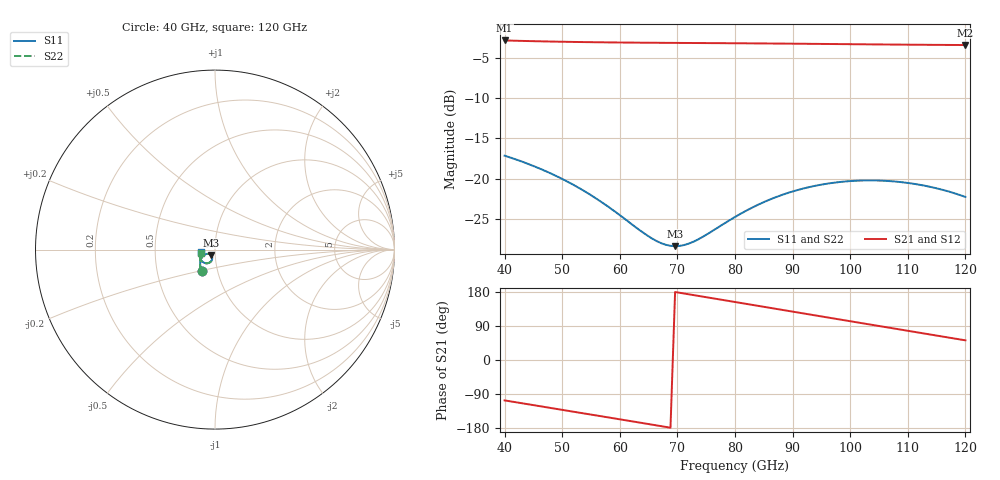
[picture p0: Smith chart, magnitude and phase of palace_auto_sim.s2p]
#  GHZ S DB R 50
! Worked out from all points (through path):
!   101 points, 40 GHz to 120 GHz, reference 50 ohm
!   highest |S21| = -2.82 dB at 40 GHz (marker M1); lowest = -3.4 dB at 120 GHz (marker M2)
!   group delay of S21, straight-line fit = 7.01 ps
!   lowest |S11| = -28.4 dB at 69.6 GHz (marker M3), VSWR 1.08, Z = 47.6 - j2.8 ohm
!   |S11| at or under -10 dB: start of sweep to end of sweep
!   |S22| runs from -28.3 to -17.1 dB; largest |S21 - S12| = 8e-14
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40  -17.14 -121.3  -2.82 -106.6  -2.82 -106.6  -17.11 -121.3
46.4  -18.83 -136.4  -2.93 -122.6  -2.93 -122.6  -18.79 -136.4
53.6  -21.44 -149.5  -3.02 -140.6  -3.02 -140.6  -21.38 -149.4
57.6  -23.28 -153.4  -3.06 -150.5  -3.06 -150.5  -23.22 -153.3
60.8  -24.96 -153.4  -3.08 -158.5  -3.08 -158.5  -24.89 -153.3
64.8  -27.07 -147.2  -3.10 -168.6  -3.10 -168.6  -26.98 -147.2
67.2  -28.02 -139.4  -3.11 -174.6  -3.11 -174.6  -27.93 -139.4
69.6  -28.38 -129.4  -3.13 179.4  -3.13 179.4  -28.30 -129.5
71.2  -28.24 -122.7  -3.13 175.3  -3.13 175.3  -28.16 -122.8
72.8  -27.82 -116.9  -3.14 171.3  -3.14 171.3  -27.76 -117.1
76  -26.53 -109.3  -3.15 163.2  -3.15 163.2  -26.48 -109.4
80  -24.76 -106.6  -3.17 153.1  -3.17 153.1  -24.71 -106.6
86.4  -22.49 -111.3  -3.20 136.8  -3.20 136.8  -22.44 -111.2
90.4  -21.50 -117.1  -3.22 126.7  -3.22 126.7  -21.45 -116.8
93.6  -20.93 -122.4  -3.24 118.6  -3.24 118.6  -20.87 -122.1
97.6  -20.46 -129.6  -3.27 108.4  -3.27 108.4  -20.39 -129.2
100.8  -20.26 -135.5  -3.29 100.3  -3.29 100.3  -20.19 -135.1
104  -20.22 -141.5  -3.31 92.2  -3.31 92.2  -20.14 -141.0
107.2  -20.32 -147.5  -3.33 84.2  -3.33 84.2  -20.23 -146.9
110.4  -20.57 -153.3  -3.35 76.1  -3.35 76.1  -20.47 -152.6
113.6  -20.97 -158.8  -3.36 68.0  -3.36 68.0  -20.86 -158.1
120  -22.26 -168.4  -3.39 51.9  -3.39 51.9  -22.12 -167.6
